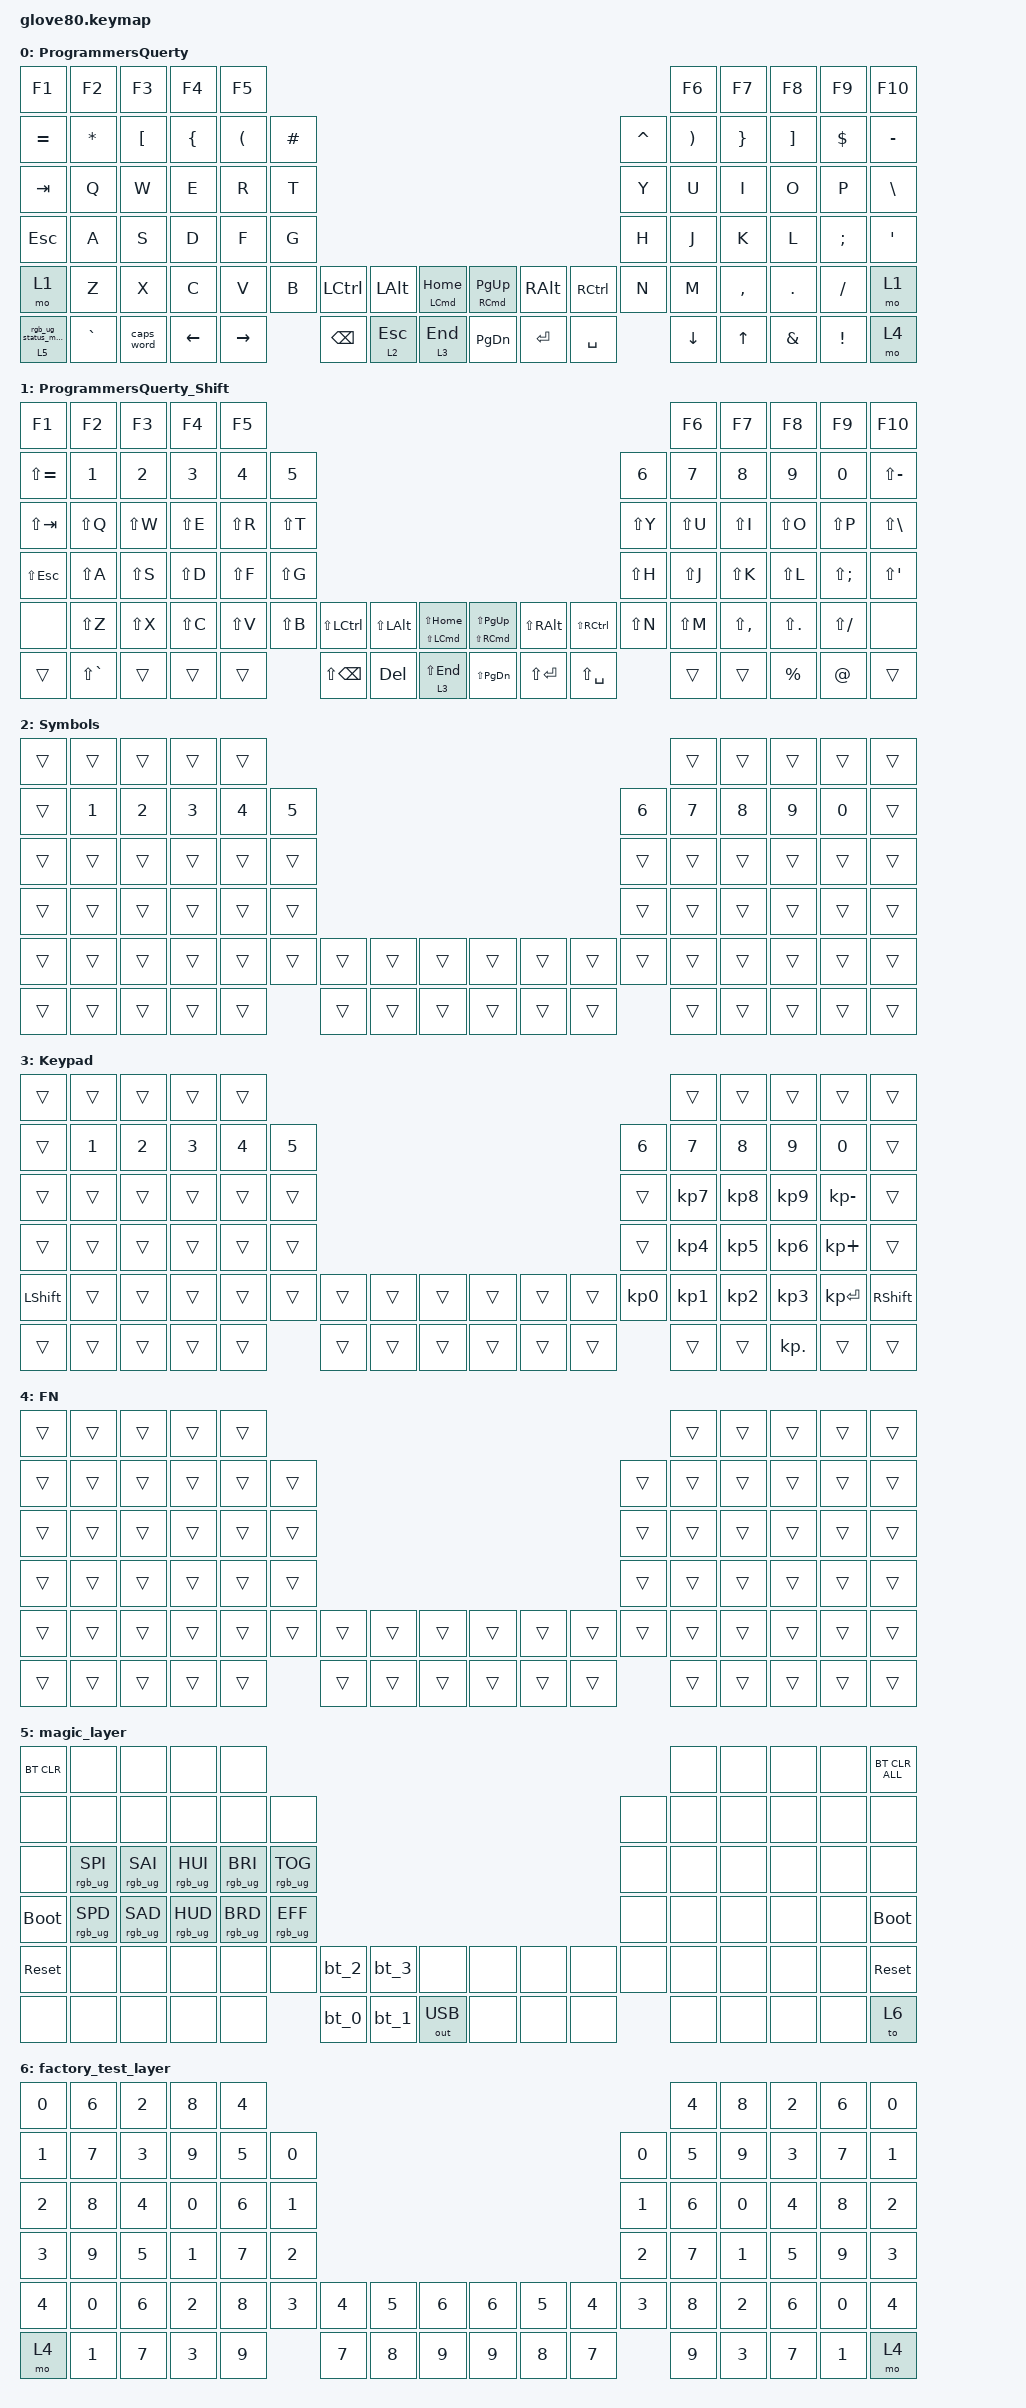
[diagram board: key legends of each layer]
/*
 * Copyright (c) 2020 The ZMK Contributors
 *
 * SPDX-License-Identifier: MIT
 */

#include <behaviors.dtsi>
#include <dt-bindings/zmk/bt.h>
#include <dt-bindings/zmk/keys.h>
#include <dt-bindings/zmk/outputs.h>
#include <dt-bindings/zmk/rgb.h>

#define HYPER LC(LS(LG(LALT)))

// layers

#define DEFAULT 0
#define LOWER 1
#define MAGIC 2
#define FACTORY_TEST 3

/ {
    behaviors {
        // For the "layer" key, it'd nice to be able to use it as either a shift or a toggle.
        // Configure it as a tap dance, so the first tap (or hold) is a &mo and the second tap is a &to

        layer_td: tap_dance_0 {
            compatible = "zmk,behavior-tap-dance";
            label = "LAYER_TAP_DANCE";
            #binding-cells = <0>;
            tapping-term-ms = <200>;
            bindings = <&mo 0>, <&to 0>;
        };

        magic: magic_hold_tap {
            compatible = "zmk,behavior-hold-tap";
            label = "MAGIC_HOLD_TAP";
            #binding-cells = <2>;
            flavor = "tap-preferred";
            tapping-term-ms = <200>;
            bindings = <&mo>, <&rgb_ug_status_macro>;
        };
    };

    macros {
        rgb_ug_status_macro: rgb_ug_status_macro_0 {
            label = "RGB_UG_STATUS";
            compatible = "zmk,behavior-macro";
            #binding-cells = <0>;
            bindings = <&rgb_ug RGB_STATUS>;
        };

        bt_0: bt_profile_macro_0 {
            label = "BT_0";
            compatible = "zmk,behavior-macro";
            #binding-cells = <0>;
            bindings = <&out OUT_BLE &bt BT_SEL 0>;
        };

        bt_1: bt_profile_macro_1 {
            label = "BT_1";
            compatible = "zmk,behavior-macro";
            #binding-cells = <0>;
            bindings = <&out OUT_BLE &bt BT_SEL 1>;
        };

        bt_2: bt_profile_macro_2 {
            label = "BT_2";
            compatible = "zmk,behavior-macro";
            #binding-cells = <0>;
            bindings = <&out OUT_BLE &bt BT_SEL 2>;
        };

        bt_3: bt_profile_macro_3 {
            label = "BT_3";
            compatible = "zmk,behavior-macro";
            #binding-cells = <0>;
            bindings = <&out OUT_BLE &bt BT_SEL 3>;
        };
    };

    keymap {
        compatible = "zmk,keymap";

        ProgrammersQuerty {
            // ---------------------------------------------------------------------------------------------------------------------------------
            // |  F1   |  F2 |  F3 |  F4  |  F5  |                                                               |  F6   |  F7   |  F8  |   F9  |  F10 |
            // |  =    |  1  |  2  |  3   |  4   |  5   |                                                 |  6   |   7   |   8   |  9   |   0   |   -  |
            // |  TAB  |  Q  |  W  |  E   |  R   |  T   |                                                 |  Y   |   U   |   I   |  O   |   P   |   \  |
            // |  ESC  |  A  |  S  |  D   |  F   |  G   |                                                 |  H   |   J   |   K   |  L   |   ;   |   '  |
            // |   `   |  Z  |  X  |  C   |  V   |  B   | LSHFT | LCTRL | LOWER | | LGUI  | RCTRL | RSHFT |  N   |   M   |   ,   |  .   |   /   | PGUP |
            // | MAGIC | HOME| END | LEFT | RIGHT|      | BSPC  | DEL   | LALT  | | RALT  | RET   | SPACE |      |  UP   | DOWN  |  [   |   ]   | PGDN |

            bindings = <
&kp F1      &kp F2        &kp F3            &kp F4          &kp F5                                                                                                                                                         &kp F6                 &kp F7           &kp F8             &kp F9      &kp F10
&kp EQUAL   &kp ASTERISK  &kp LEFT_BRACKET  &kp LEFT_BRACE  &kp LEFT_PARENTHESIS  &kp HASH                                                                                                                      &kp CARET  &kp RIGHT_PARENTHESIS  &kp RIGHT_BRACE  &kp RIGHT_BRACKET  &kp DOLLAR  &kp MINUS
&kp TAB     &kp Q         &kp W             &kp E           &kp R                 &kp T                                                                                                                         &kp Y      &kp U                  &kp I            &kp O              &kp P       &kp BSLH
&kp ESC     &kp A         &kp S             &kp D           &kp F                 &kp G                                                                                                                         &kp H      &kp J                  &kp K            &kp L              &kp SEMI    &kp SQT
&mo 1       &kp Z         &kp X             &kp C           &kp V                 &kp B     &kp LEFT_CONTROL  &kp LEFT_ALT  &mt LEFT_COMMAND HOME  &mt RIGHT_COMMAND PAGE_UP  &kp RIGHT_ALT  &kp RIGHT_CONTROL  &kp N      &kp M                  &kp COMMA        &kp DOT            &kp FSLH    &mo 1
&magic 5 0  &kp GRAVE     &caps_word        &kp LEFT        &kp RIGHT                       &kp BSPC          &lt 2 ESC     &lt 3 END              &kp PAGE_DOWN              &kp RET        &kp SPACE                     &kp DOWN_ARROW         &kp UP_ARROW     &kp AMPERSAND      &kp EXCL    &mo 4
            >;
        };

        ProgrammersQuerty_Shift {
            bindings = <
&kp F1         &kp F2         &kp F3     &kp F4     &kp F5                                                                                                                                                                               &kp F6     &kp F7         &kp F8       &kp F9        &kp F10
&kp LS(EQUAL)  &kp N1         &kp N2     &kp N3     &kp N4     &kp N5                                                                                                                                                         &kp N6     &kp N7     &kp N8         &kp N9       &kp N0        &kp LS(MINUS)
&kp LS(TAB)    &kp LS(Q)      &kp LS(W)  &kp LS(E)  &kp LS(R)  &kp LS(T)                                                                                                                                                      &kp LS(Y)  &kp LS(U)  &kp LS(I)      &kp LS(O)    &kp LS(P)     &kp LS(BSLH)
&kp LS(ESC)    &kp LS(A)      &kp LS(S)  &kp LS(D)  &kp LS(F)  &kp LS(G)                                                                                                                                                      &kp LS(H)  &kp LS(J)  &kp LS(K)      &kp LS(L)    &kp LS(SEMI)  &kp LS(SQT)
&none          &kp LS(Z)      &kp LS(X)  &kp LS(C)  &kp LS(V)  &kp LS(B)  &kp LS(LEFT_CONTROL)  &kp LS(LEFT_ALT)  &mt LS(LEFT_COMMAND) LS(HOME)  &mt LS(RIGHT_COMMAND) LS(PAGE_UP)  &kp LS(RIGHT_ALT)  &kp LS(RIGHT_CONTROL)  &kp LS(N)  &kp LS(M)  &kp LS(COMMA)  &kp LS(DOT)  &kp LS(FSLH)  &none
&trans         &kp LS(GRAVE)  &trans     &trans     &trans                &kp LS(BSPC)          &kp DEL           &lt 3 LS(END)                  &kp LS(PAGE_DOWN)                  &kp LS(RET)        &kp LS(SPACE)                     &trans     &trans         &kp PERCENT  &kp AT        &trans
            >;
        };

        Symbols {
            bindings = <
&trans  &trans  &trans  &trans  &trans                                                                  &trans  &trans  &trans  &trans  &trans
&trans  &kp N1  &kp N2  &kp N3  &kp N4  &kp N5                                                  &kp N6  &kp N7  &kp N8  &kp N9  &kp N0  &trans
&trans  &trans  &trans  &trans  &trans  &trans                                                  &trans  &trans  &trans  &trans  &trans  &trans
&trans  &trans  &trans  &trans  &trans  &trans                                                  &trans  &trans  &trans  &trans  &trans  &trans
&trans  &trans  &trans  &trans  &trans  &trans  &trans  &trans  &trans  &trans  &trans  &trans  &trans  &trans  &trans  &trans  &trans  &trans
&trans  &trans  &trans  &trans  &trans          &trans  &trans  &trans  &trans  &trans  &trans          &trans  &trans  &trans  &trans  &trans
            >;
        };

        Keypad {
            bindings = <
&trans          &trans  &trans  &trans  &trans                                                                           &trans           &trans           &trans           &trans        &trans
&trans          &kp N1  &kp N2  &kp N3  &kp N4  &kp N5                                                  &kp N6           &kp N7           &kp N8           &kp N9           &kp N0        &trans
&trans          &trans  &trans  &trans  &trans  &trans                                                  &trans           &kp KP_NUMBER_7  &kp KP_NUMBER_8  &kp KP_NUMBER_9  &kp KP_MINUS  &trans
&trans          &trans  &trans  &trans  &trans  &trans                                                  &trans           &kp KP_NUMBER_4  &kp KP_NUMBER_5  &kp KP_NUMBER_6  &kp KP_PLUS   &trans
&kp LEFT_SHIFT  &trans  &trans  &trans  &trans  &trans  &trans  &trans  &trans  &trans  &trans  &trans  &kp KP_NUMBER_0  &kp KP_NUMBER_1  &kp KP_NUMBER_2  &kp KP_NUMBER_3  &kp KP_ENTER  &kp RIGHT_SHIFT
&trans          &trans  &trans  &trans  &trans          &trans  &trans  &trans  &trans  &trans  &trans                   &trans           &trans           &kp KP_DOT       &trans        &trans
            >;
        };

        FN {
            bindings = <
&trans  &trans  &trans  &trans  &trans                                                                  &trans  &trans  &trans  &trans  &trans
&trans  &trans  &trans  &trans  &trans  &trans                                                  &trans  &trans  &trans  &trans  &trans  &trans
&trans  &trans  &trans  &trans  &trans  &trans                                                  &trans  &trans  &trans  &trans  &trans  &trans
&trans  &trans  &trans  &trans  &trans  &trans                                                  &trans  &trans  &trans  &trans  &trans  &trans
&trans  &trans  &trans  &trans  &trans  &trans  &trans  &trans  &trans  &trans  &trans  &trans  &trans  &trans  &trans  &trans  &trans  &trans
&trans  &trans  &trans  &trans  &trans          &trans  &trans  &trans  &trans  &trans  &trans          &trans  &trans  &trans  &trans  &trans
            >;
        };

        magic_layer {
            bindings = <
&bt BT_CLR   &none            &none            &none            &none                                                                                     &none  &none  &none  &none  &bt BT_CLR_ALL
&none        &none            &none            &none            &none            &none                                                             &none  &none  &none  &none  &none  &none
&none        &rgb_ug RGB_SPI  &rgb_ug RGB_SAI  &rgb_ug RGB_HUI  &rgb_ug RGB_BRI  &rgb_ug RGB_TOG                                                   &none  &none  &none  &none  &none  &none
&bootloader  &rgb_ug RGB_SPD  &rgb_ug RGB_SAD  &rgb_ug RGB_HUD  &rgb_ug RGB_BRD  &rgb_ug RGB_EFF                                                   &none  &none  &none  &none  &none  &bootloader
&sys_reset   &none            &none            &none            &none            &none            &bt_2  &bt_3  &none         &none  &none  &none  &none  &none  &none  &none  &none  &sys_reset
&none        &none            &none            &none            &none                             &bt_0  &bt_1  &out OUT_USB  &none  &none  &none         &none  &none  &none  &none  &to 6
            >;
        };

        factory_test_layer {
            bindings = <
&kp N0  &kp N6  &kp N2  &kp N8  &kp N4                                                                  &kp N4  &kp N8  &kp N2  &kp N6  &kp N0
&kp N1  &kp N7  &kp N3  &kp N9  &kp N5  &kp N0                                                  &kp N0  &kp N5  &kp N9  &kp N3  &kp N7  &kp N1
&kp N2  &kp N8  &kp N4  &kp N0  &kp N6  &kp N1                                                  &kp N1  &kp N6  &kp N0  &kp N4  &kp N8  &kp N2
&kp N3  &kp N9  &kp N5  &kp N1  &kp N7  &kp N2                                                  &kp N2  &kp N7  &kp N1  &kp N5  &kp N9  &kp N3
&kp N4  &kp N0  &kp N6  &kp N2  &kp N8  &kp N3  &kp N4  &kp N5  &kp N6  &kp N6  &kp N5  &kp N4  &kp N3  &kp N8  &kp N2  &kp N6  &kp N0  &kp N4
&mo 4   &kp N1  &kp N7  &kp N3  &kp N9          &kp N7  &kp N8  &kp N9  &kp N9  &kp N8  &kp N7          &kp N9  &kp N3  &kp N7  &kp N1  &mo 4
            >;
        };
    };
};
